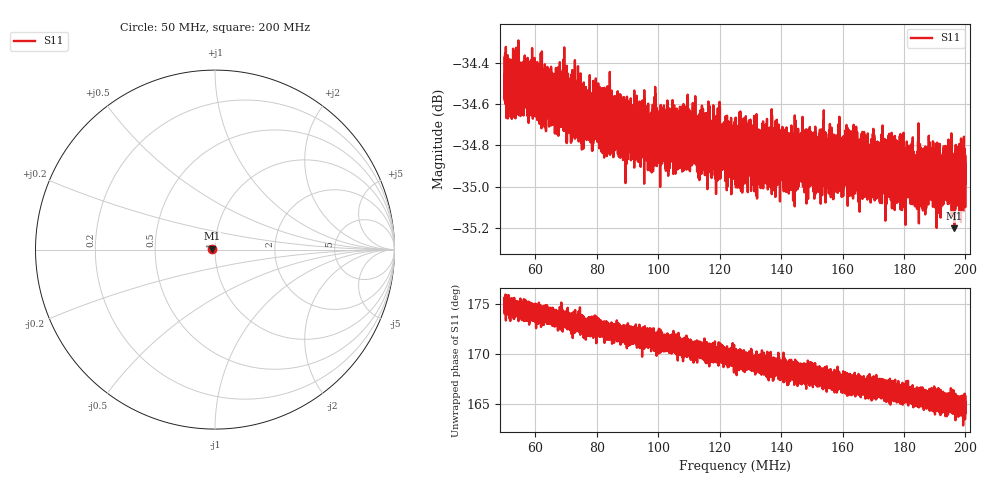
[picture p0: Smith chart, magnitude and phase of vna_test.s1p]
! COPPER MOUNTAIN TECHNOLOGIES, PLANAR TR1300/1, 00071119, 20.2.2/1.0
! Date: 1/9/2024 7:57:40 PM
! Data: Format [Calibration Info]
! Freq  S11: Re/Im F1
# HZ S RI R 50
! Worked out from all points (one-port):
!   12288 points, 50 MHz to 200 MHz, reference 50 ohm
!   lowest |S11| = -35.2 dB at 196.4 MHz (marker M1), VSWR 1.04, Z = 48.3 + j0.44 ohm
!   |S11| at or under -10 dB: start of sweep to end of sweep
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5e7  -0.0187 0.00193
5.347929e7  -0.0191 0.00171
6.875153e7  -0.0186 0.00221
7.826158e7  -0.0184 0.00229
8.003174e7  -0.0183 0.00242
8.750305e7  -0.0184 0.00281
9.051843e7  -0.0182 0.0027
9.154391e7  -0.0182 0.00266
9.543827e7  -0.0176 0.00294
9.696427e7  -0.0182 0.00273
1.015545e8  -0.0181 0.00275
1.030439e8  -0.0181 0.00288
1.062546e8  -0.0179 0.00317
1.117604e8  -0.0179 0.00303
1.138113e8  -0.018 0.00279
1.160698e8  -0.0178 0.00336
1.250061e8  -0.0178 0.0032
1.292667e8  -0.0178 0.0035
1.328559e8  -0.0176 0.00327
1.437576e8  -0.0178 0.00356
1.475055e8  -0.0176 0.00404
1.516806e8  -0.0175 0.00388
1.543908e8  -0.0174 0.00414
1.625092e8  -0.0178 0.00388
1.812607e8  -0.0174 0.00436
1.963864e8  -0.0168 0.00455
1.990112e8  -0.0174 0.00497
2e8  -0.0174 0.00468
